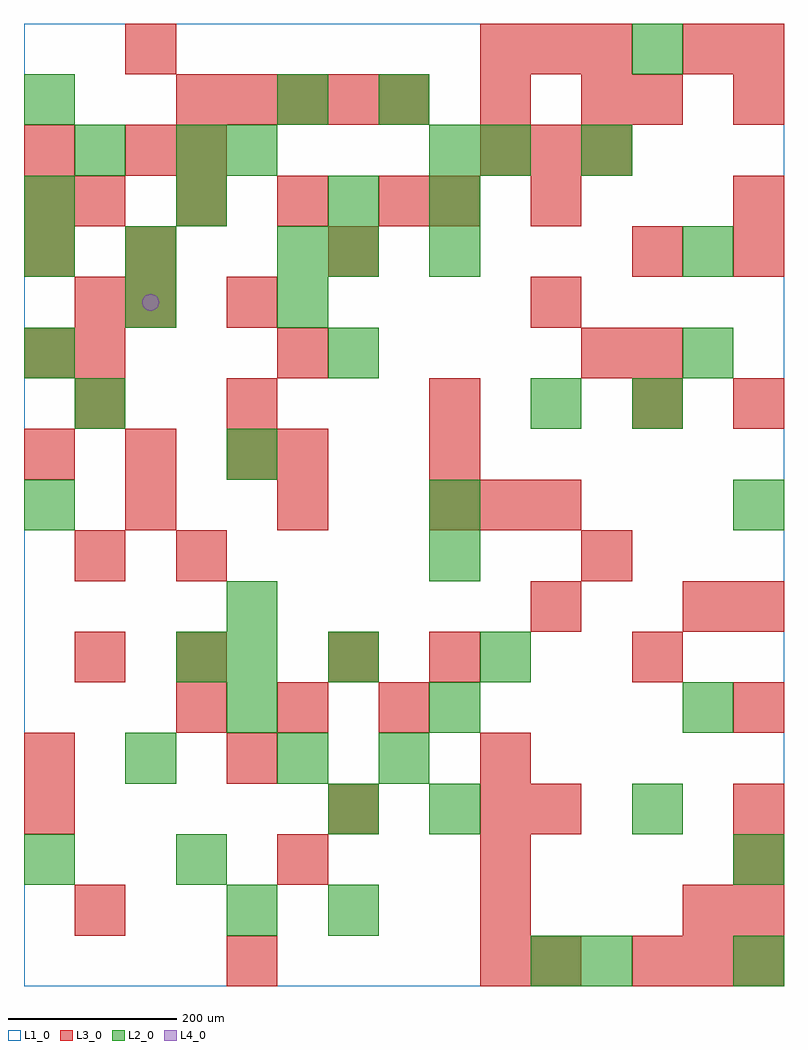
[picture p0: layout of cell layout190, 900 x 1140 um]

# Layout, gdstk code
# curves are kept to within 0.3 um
import gdstk
lib = gdstk.Library(unit=1e-6, precision=1e-09)
def R(c, l, rs):  # rectangles x0, y0, x1, y1
    for r in rs: c.add(gdstk.rectangle(r[:2], r[2:], *l))
def A(c, l, x, y, w, h, nx, ny, dx, dy):  # array of equal rectangles
    R(c, l, [(x+i*dx, y+j*dy, x+i*dx+w, y+j*dy+h) for i in range(nx) for j in range(ny)])
def P(c, l, *ps):  # polygons
    for p in ps: c.add(gdstk.Polygon(p, *l))
L1_0 = (1, 0)
L2_0 = (2, 0)
L3_0 = (3, 0)
L4_0 = (4, 0)

layout190 = lib.new_cell('layout190')
R(layout190, L1_0, [(0,0,900,1140)])
A(layout190, L2_0, 240, 300, 60, 60, 1, 3, 0, 60)
A(layout190, L2_0, 480, 840, 60, 60, 1, 3, 0, 60)
A(layout190, L2_0, 0, 900, 60, 60, 3, 1, 180, 0)
R(layout190, L2_0, [(600,0,660,60), (660,0,720,60), (840,0,900,60), (240,60,300,120), (360,60,420,120), (0,120,60,180), (180,120,240,180), (840,120,900,180), (360,180,420,240), (480,180,540,240), (720,180,780,240), (120,240,180,300), (300,240,360,300), (420,240,480,300), (480,300,540,360), (780,300,840,360), (180,360,240,420), (360,360,420,420), (540,360,600,420), (480,480,540,540), (0,540,60,600), (480,540,540,600), (840,540,900,600), (240,600,300,660), (60,660,120,720), (600,660,660,720), (720,660,780,720), (0,720,60,780), (360,720,420,780), (780,720,840,780), (120,780,180,840), (300,780,360,840), (0,840,60,900), (120,840,180,900), (300,840,360,900), (360,840,420,900), (780,840,840,900), (60,960,120,1020), (180,960,240,1020), (240,960,300,1020), (540,960,600,1020), (660,960,720,1020), (0,1020,60,1080), (300,1020,360,1080), (420,1020,480,1080), (720,1080,780,1140)])
A(layout190, L3_0, 540, 0, 60, 60, 1, 5, 0, 60)
A(layout190, L3_0, 720, 0, 60, 60, 3, 1, 60, 0)
A(layout190, L3_0, 840, 60, 60, 60, 1, 3, 0, 60)
A(layout190, L3_0, 180, 300, 60, 60, 3, 1, 120, 0)
A(layout190, L3_0, 120, 540, 60, 60, 3, 1, 180, 0)
A(layout190, L3_0, 0, 600, 60, 60, 3, 1, 120, 0)
A(layout190, L3_0, 60, 660, 60, 60, 1, 3, 0, 60)
A(layout190, L3_0, 240, 660, 60, 60, 3, 1, 240, 0)
A(layout190, L3_0, 0, 840, 60, 60, 1, 3, 0, 60)
A(layout190, L3_0, 120, 840, 60, 60, 1, 3, 0, 120)
A(layout190, L3_0, 60, 900, 60, 60, 4, 1, 120, 0)
A(layout190, L3_0, 540, 960, 60, 60, 3, 2, 60, 120)
A(layout190, L3_0, 180, 1020, 60, 60, 5, 1, 60, 0)
R(layout190, L3_0, [(240,0,300,60), (600,0,660,60), (60,60,120,120), (780,60,840,120), (300,120,360,180), (0,180,60,240), (360,180,420,240), (600,180,660,240), (0,240,60,300), (240,240,300,300), (840,300,900,360), (60,360,120,420), (180,360,240,420), (360,360,420,420), (480,360,540,420), (720,360,780,420), (600,420,660,480), (780,420,840,480), (840,420,900,480), (60,480,120,540), (180,480,240,540), (660,480,720,540), (540,540,600,600), (600,540,660,600), (300,600,360,660), (480,600,540,660), (840,660,900,720), (0,720,60,780), (300,720,360,780), (660,720,720,780), (720,720,780,780), (120,780,180,840), (240,780,300,840), (600,780,660,840), (360,840,420,900), (720,840,780,900), (840,840,900,900), (480,900,540,960), (600,900,660,960), (840,900,900,960), (180,960,240,1020), (540,1020,600,1080), (660,1020,720,1080), (720,1020,780,1080), (840,1020,900,1080), (780,1080,840,1140), (840,1080,900,1140)])
P(layout190, L4_0, [(160,810),(159.239,813.827),(157.071,817.071),(153.827,819.239),(150,820),(146.173,819.239),(142.929,817.071),(140.761,813.827),(140,810),(140.761,806.173),(142.929,802.929),(146.173,800.761),(150,800),(153.827,800.761),(157.071,802.929),(159.239,806.173)])

lib.write_gds('layout190.gds')
